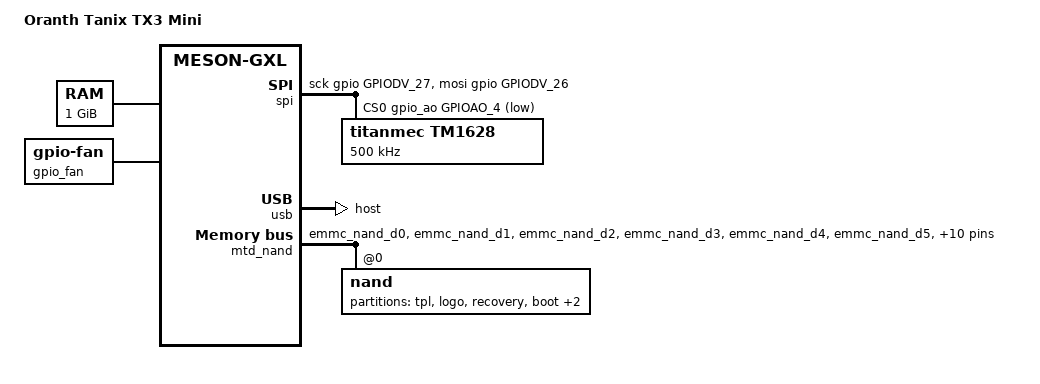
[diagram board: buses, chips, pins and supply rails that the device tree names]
// SPDX-License-Identifier: (GPL-2.0+ OR MIT)
/*
 * Copyright (c) 2018 Martin Blumenstingl <martin.blumenstingl@googlemail.com>.
 * Based on meson-gxl-s905d-p231.dts:
 * - Copyright (c) 2016 Endless Computers, Inc.
 *   Author: Carlo Caione <carlo@endlessm.com>
 */

/dts-v1/;

#include "meson-gxl-s905x.dtsi"
#include "meson-gx-p23x-q20x.dtsi"
#include <dt-bindings/leds/common.h>
#include <dt-bindings/thermal/thermal.h>

/ {
	compatible = "oranth,tx3-mini", "amlogic,s905w", "amlogic,meson-gxl";
	model = "Oranth Tanix TX3 Mini";

	memory@0 {
		device_type = "memory";
		reg = <0x0 0x0 0x0 0x40000000>; /* 1 GiB or 2 GiB */
	};

	thermal-zones {
		cpu-thermal {
			polling-delay-passive = <250>; /* milliseconds */
			polling-delay = <1000>; /* milliseconds */

			thermal-sensors = <&scpi_sensors 0>;

			trips {
				cpu_alert0: cpu-alert0 {
					temperature = <70000>; /* millicelsius */
					hysteresis = <2000>; /* millicelsius */
					type = "active";
				};

				cpu_alert1: cpu-alert1 {
					temperature = <80000>; /* millicelsius */
					hysteresis = <2000>; /* millicelsius */
					type = "passive";
				};
			};

			cooling-maps {
				map0 {
					trip = <&cpu_alert0>;
					cooling-device = <&gpio_fan THERMAL_NO_LIMIT 1>;
				};

				map1 {
					trip = <&cpu_alert1>;
					cooling-device = <&gpio_fan THERMAL_NO_LIMIT 1>;
				};
			};
		};
	};

	gpio_fan: gpio-fan {
		compatible = "gpio-fan";
		/* Dummy RPM values since fan is optional */
		gpio-fan,speed-map = <0 0
				      1 1
				      2 2
				      3 3>;
		#cooling-cells = <2>;
	};

	spi {
		compatible = "spi-gpio";
		sck-gpios = <&gpio GPIODV_27  GPIO_ACTIVE_HIGH>;
		mosi-gpios = <&gpio GPIODV_26 GPIO_ACTIVE_HIGH>;
		cs-gpios = <&gpio_ao GPIOAO_4 GPIO_ACTIVE_LOW>;
		num-chipselects = <1>;
		#address-cells = <1>;
		#size-cells = <0>;

		tm1628: led-controller@0 {
			compatible = "titanmec,tm1628";
			reg = <0>;
			spi-3wire;
			spi-lsb-first;
			spi-rx-delay-us = <1>;
			spi-max-frequency = <500000>;
			#address-cells = <2>;
			#size-cells = <0>;

			titanmec,segment-mapping = /bits/ 8 <4 5 6 1 2 3 7>;
			titanmec,grid = /bits/ 8 <4 3 2 1>;

			alarm@5,1 {
				reg = <5 1>;
				function = LED_FUNCTION_ALARM;
			};

			usb@5,2 {
				reg = <5 2>;
				function = LED_FUNCTION_USB;
			};
			play@5,3 {
				reg = <5 3>;
				function = "play";
			};

			pause@5,4 {
				reg = <5 4>;
				function = "pause";
			};

			colon@5,5 {
				reg = <5 5>;
				function = "colon";
			};

			lan@5,6 {
				reg = <5 6>;
				function = LED_FUNCTION_LAN;
			};

			wlan@5,7 {
				reg = <5 7>;
				function = LED_FUNCTION_WLAN;
			};
		};
	};
	
	openvfd {
		compatible = "open,vfd";
		dev_name = "openvfd";
		status = "okay";
	};
};

&usb {
	dr_mode = "host";
};

&pinctrl_periphs {
/*
	nand_dqs_pins: nand_dqs_pins {
		mux {
			groups = "emmc_nand_d0",
				"emmc_nand_d1",
				"emmc_nand_d2",
				"emmc_nand_d3",
				"emmc_nand_d4",
				"emmc_nand_d5",
				"emmc_nand_d6",
				"emmc_nand_d7",
				"nand_dqs";
			function = "nand";
			bias-pull-down;
		};
	};

	nand_pins: nand_pins {
		mux-0 {
			groups = "nand_ce0",
				"nand_rb0";
			function = "nand";
			bias-pull-up;
		};

		mux-1 {
			groups = "nand_wen_clk";
			function = "nand";
			bias-disable;
		};
	};
*/

	all_nand_pins: all_nand_pins {
		mux {
			groups = "emmc_nand_d0",
				"emmc_nand_d1",
				"emmc_nand_d2",
				"emmc_nand_d3",
				"emmc_nand_d4",
				"emmc_nand_d5",
				"emmc_nand_d6",
				"emmc_nand_d7",
				"nand_ce0",
				"nand_ce1",
				"nand_rb0",
				"nand_ale",
				"nand_cle",
				"nand_wen_clk",
				"nand_ren_wr",
				"nand_dqs";
			function = "nand";
			input-enable;
		};
	};

	nand_cs_pins: nand_cs {
		mux {
			groups = "nand_ce0",
				"nand_ce1";
			function = "nand";
		};
	};
};

&apb {
	sd_emmc_c_clkc: mmc@75000 {
		compatible = "amlogic,meson-axg-mmc-clkc", "syscon";
		reg = <0x0 0x75000 0x0 0x800>;
	};

	mtd_nand: nfc@75800 {
		compatible = "amlogic,meson-axg-nfc";
		status = "okay";

		reg = <0x0 0x75800 0x0 0x200>;
		reg-name = "nfc", "emmc";

		interrupts = <GIC_SPI 34 IRQ_TYPE_EDGE_RISING>;
		//clocks = <&clkc CLKID_SD_EMMC_C>, <&clkc CLKID_FCLK_DIV2>;
		//clock-names = "core", "device";

		clocks = <&clkc CLKID_SD_EMMC_C>,
			<&sd_emmc_c_clkc CLKID_MMC_DIV>,
			<&sd_emmc_c_clkc CLKID_MMC_PHASE_RX>,
			<&sd_emmc_c_clkc CLKID_MMC_PHASE_TX>;
		clock-names = "core", "device", "rx", "tx";
		amlogic,mmc-syscon = <&sd_emmc_c_clkc>;

		pinctrl-names = "default";
		pinctrl-0 = <&all_nand_pins>;
		pinctrl-1 = <&all_nand_pins>;
		pinctrl-2 = <&nand_cs_pins>;

		#address-cells = <1>;
		#size-cells = <0>;

	       /*
		*bl_mode = <1>;
		*fip_copies = <4>;
		*fip_size = <0x200000>;
		*ship_bad_block = <1>;
		*nand_clk_ctrl = <0xFFE07000>;
		*/

		nand@0 {
			reg = <0>;
			#address-cells = <1>;
			#size-cells = <1>;
			/* nand-ecc-maximize; */

			partition@0 {
				label = "tpl";
				reg = <0x0 0x00000000>;
			};

			partition@1 {
				label = "logo";
				reg = <0x0 0x00200000>;
			};

			partition@2 {
				label = "recovery";
				reg = <0x0 0x1000000>;
			};

			partition@3 {
				label = "boot";
				reg = <0x0 0x0F00000>;
			};

			partition@4 {
				label = "system";
				reg = <0x0 0x11800000>;
			};

			partition@5 {
				label = "data";
				reg = <0x0 0xffffffff>;
			};
		};
	};
};
